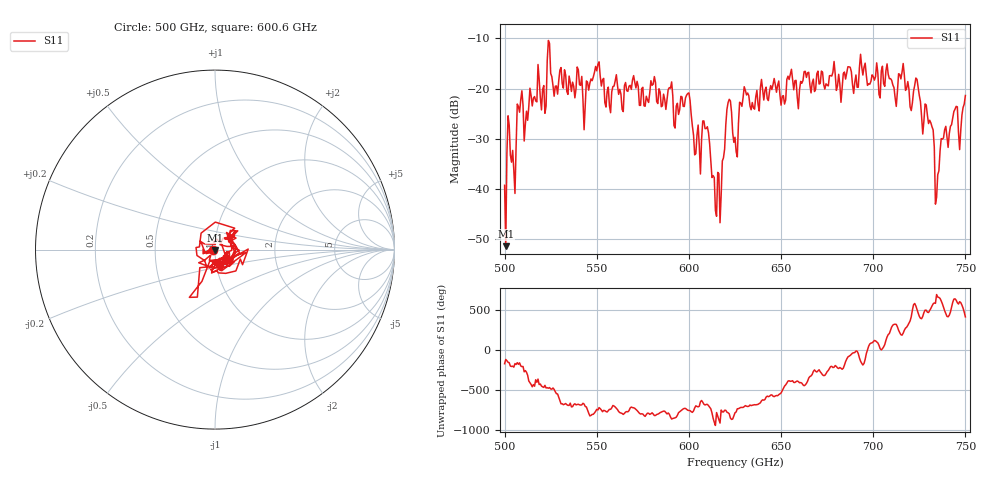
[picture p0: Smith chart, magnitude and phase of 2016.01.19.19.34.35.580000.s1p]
!Created with skrf (http://scikit-rf.org).
# GHz S RI R 50.0
!freq ReS11 ImS11
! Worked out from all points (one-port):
!   401 points, 500 GHz to 750 GHz, reference 50 ohm
!   lowest |S11| = -51.4 dB at 500.6 GHz (marker M1), VSWR 1.01, Z = 49.9 - j0.232 ohm
!   |S11| at or under -10 dB: start of sweep to end of sweep
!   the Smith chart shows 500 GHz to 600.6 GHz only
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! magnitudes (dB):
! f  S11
! 500 GHz  -39.3
! 500.6 GHz  -51.4
! 502.5 GHz  -27.3
! 505 GHz  -36.3
! 508.1 GHz  -24.7
! 521.2 GHz  -19.4
! 524.4 GHz  -11.0
! 527.5 GHz  -19.5
! 531.2 GHz  -19.0
! 550 GHz  -16.4
! 562.5 GHz  -20.1
! 580.6 GHz  -19.1
! 593.8 GHz  -22.9
! 599.4 GHz  -21.0
! 605 GHz  -27.3
! 609.4 GHz  -28.0
! 615.6 GHz  -36.7
! 621.2 GHz  -22.8
! 625 GHz  -29.7
! 630.6 GHz  -20.3
! 656.2 GHz  -18.2
! 687.5 GHz  -15.7
! 718.8 GHz  -18.6
! 729.4 GHz  -25.3
! 735 GHz  -37.1
! 738.1 GHz  -29.8
! 747.5 GHz  -28.2
! 750 GHz  -21.4
